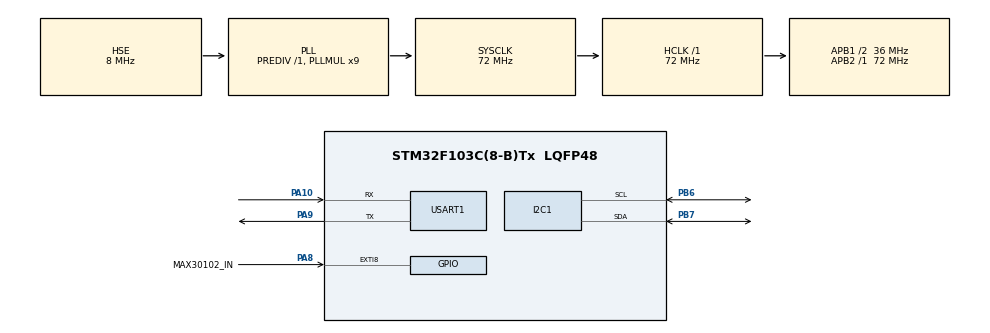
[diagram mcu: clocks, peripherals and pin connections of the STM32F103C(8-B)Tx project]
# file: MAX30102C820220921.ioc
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Mcu.Family=STM32F1
Mcu.Name=STM32F103C(8-B)Tx
Mcu.Package=LQFP48
NVIC.EXTI9_5_IRQn=true\:0\:0\:false\:false\:true\:true\:true
NVIC.PriorityGroup=NVIC_PRIORITYGROUP_4
PA10.Mode=Asynchronous
PA10.Signal=USART1_RX
PA13.Mode=Serial_Wire
PA13.Signal=SYS_JTMS-SWDIO
PA14.Mode=Serial_Wire
PA14.Signal=SYS_JTCK-SWCLK
PA8.GPIO_Label=MAX30102_IN
PA8.GPIO_ModeDefaultEXTI=GPIO_MODE_IT_FALLING
PA8.GPIO_PuPd=GPIO_PULLUP
PA8.Signal=GPXTI8
PA9.Mode=Asynchronous
PA9.Signal=USART1_TX
PB6.Mode=I2C
PB6.Signal=I2C1_SCL
PB7.Mode=I2C
PB7.Signal=I2C1_SDA
PD0-OSC_IN.Mode=HSE-External-Oscillator
PD0-OSC_IN.Signal=RCC_OSC_IN
PD1-OSC_OUT.Mode=HSE-External-Oscillator
PD1-OSC_OUT.Signal=RCC_OSC_OUT
ProjectManager.HeapSize=0x200
ProjectManager.StackSize=0x400
ProjectManager.TargetToolchain=MDK-ARM V5
RCC.AHBFreq_Value=72000000
RCC.APB1CLKDivider=RCC_HCLK_DIV2
RCC.APB1Freq_Value=36000000
RCC.APB1TimFreq_Value=72000000
RCC.APB2Freq_Value=72000000
RCC.APB2TimFreq_Value=72000000
RCC.HCLKFreq_Value=72000000
RCC.PLLMUL=RCC_PLL_MUL9
RCC.PLLSourceVirtual=RCC_PLLSOURCE_HSE
RCC.SYSCLKFreq_VALUE=72000000
RCC.SYSCLKSource=RCC_SYSCLKSOURCE_PLLCLK
RCC.USBFreq_Value=72000000
USART1.VirtualMode=VM_ASYNC
board=custom

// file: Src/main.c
/* USER CODE BEGIN Header */
/**
  ******************************************************************************
  * @file           : main.c
  * @brief          : Main program body
  ******************************************************************************
  * @attention
  *
  * <h2><center>&copy; Copyright (c) 2022 STMicroelectronics.
  * All rights reserved.</center></h2>
  *
  * This software component is licensed by ST under BSD 3-Clause license,
  * the "License"; You may not use this file except in compliance with the
  * License. You may obtain a copy of the License at:
  *                        opensource.org/licenses/BSD-3-Clause
  *
  ******************************************************************************
  */
/* USER CODE END Header */

#include "main.h"
#include "i2c.h"
#include "usart.h"
#include "gpio.h"

/* USER CODE BEGIN Includes */
#include "stdio.h"
#include "max30102.h"
#include "max30102_fir.h"
/* USER CODE END Includes */

/* USER CODE BEGIN PTD */

#define CACHE_NUMS 100//缓存数
#define PPG_DATA_THRESHOLD 100000 	//检测阈值

float ppg_data_cache_RED[CACHE_NUMS]={0};  //缓存区
float ppg_data_cache_IR[CACHE_NUMS]={0};  //缓存区
/* USER CODE END PTD */

void SystemClock_Config(void);

int main(void)
{

  /* MCU Configuration--------------------------------------------------------*/

  /* Reset of all peripherals, Initializes the Flash interface and the Systick. */
  HAL_Init();

  /* Configure the system clock */
  SystemClock_Config();

  /* Initialize all configured peripherals */
  MX_GPIO_Init();
  MX_I2C1_Init();
  MX_USART1_UART_Init();
  /* USER CODE BEGIN 2 */
	HAL_Delay(500);
	max30102_init();
	printf("max30102_init\r\n");
	max30102_fir_init();
	printf("max30102_fir_init\r\n");

	uint32_t cache_counter=0;  //缓存计数器
	uint32_t i = 0;
	uint8_t max30102_flag = 0;
	float max30102_data[2],fir_output[2];
	float max30102_Spo2_data[5];
	int max30102_heart_data[5];
  /* USER CODE END 2 */

  /* Infinite loop */
  while (1)
  {

    /* USER CODE BEGIN 3 */
		if(max30102_int_flag)			//中断信号产生
			{

//				if(cache_counter % 10 == 0)
//						printf("cache_counter：%d \r\n",cache_counter);

					max30102_int_flag = 0;
					max30102_fifo_read(max30102_data);		//读取数据

					ir_max30102_fir(&max30102_data[0],&fir_output[0]);
					red_max30102_fir(&max30102_data[1],&fir_output[1]);  //滤波
					if((max30102_data[0]>PPG_DATA_THRESHOLD)&&(max30102_data[1]>PPG_DATA_THRESHOLD))  //大于阈值，说明传感器有接触
					{
							ppg_data_cache_IR[cache_counter]=fir_output[0];
							ppg_data_cache_RED[cache_counter]=fir_output[1];
							cache_counter++;
						Hand_Contact = false;
					}
					else				//小于阈值
					{
							Hand_Contact = true;
							cache_counter=0;
					}

					if(cache_counter>=CACHE_NUMS)  //收集满了数据
					{
						printf("Hand_Contact:%d\r\n",Hand_Contact);
						max30102_heart_data[max30102_flag] = max30102_getHeartRate(ppg_data_cache_IR,CACHE_NUMS);
						max30102_Spo2_data[max30102_flag] = max30102_getSpO2(ppg_data_cache_IR,ppg_data_cache_RED,CACHE_NUMS);
						max30102_flag++;
						printf("心率：%d  次/min   ",max30102_getHeartRate(ppg_data_cache_IR,CACHE_NUMS));
						printf("血氧：%.2f  %%\n",max30102_getSpO2(ppg_data_cache_IR,ppg_data_cache_RED,CACHE_NUMS));
						cache_counter=0;
						if(max30102_flag == 5){
								max30102_flag = 0;
								printf("****************\r\n");
								printf("心率：%d  次/min   ",Max30120GeiHeartData(max30102_heart_data));
								printf("血氧：%d  %%\n",Max30120GeiSpo2Data(max30102_Spo2_data));
								printf("****************\r\n");
						}
					}
			}
  }
  /* USER CODE END 3 */
}

void SystemClock_Config(void)
{
  RCC_OscInitTypeDef RCC_OscInitStruct = {0};
  RCC_ClkInitTypeDef RCC_ClkInitStruct = {0};

  /** Initializes the CPU, AHB and APB busses clocks
  */
  RCC_OscInitStruct.OscillatorType = RCC_OSCILLATORTYPE_HSE;
  RCC_OscInitStruct.HSEState = RCC_HSE_ON;
  RCC_OscInitStruct.HSEPredivValue = RCC_HSE_PREDIV_DIV1;
  RCC_OscInitStruct.HSIState = RCC_HSI_ON;
  RCC_OscInitStruct.PLL.PLLState = RCC_PLL_ON;
  RCC_OscInitStruct.PLL.PLLSource = RCC_PLLSOURCE_HSE;
  RCC_OscInitStruct.PLL.PLLMUL = RCC_PLL_MUL9;
  if (HAL_RCC_OscConfig(&RCC_OscInitStruct) != HAL_OK)
  {
    Error_Handler();
  }
  /** Initializes the CPU, AHB and APB busses clocks
  */
  RCC_ClkInitStruct.ClockType = RCC_CLOCKTYPE_HCLK|RCC_CLOCKTYPE_SYSCLK
                              |RCC_CLOCKTYPE_PCLK1|RCC_CLOCKTYPE_PCLK2;
  RCC_ClkInitStruct.SYSCLKSource = RCC_SYSCLKSOURCE_PLLCLK;
  RCC_ClkInitStruct.AHBCLKDivider = RCC_SYSCLK_DIV1;
  RCC_ClkInitStruct.APB1CLKDivider = RCC_HCLK_DIV2;
  RCC_ClkInitStruct.APB2CLKDivider = RCC_HCLK_DIV1;

  if (HAL_RCC_ClockConfig(&RCC_ClkInitStruct, FLASH_LATENCY_2) != HAL_OK)
  {
    Error_Handler();
  }
}

void Error_Handler(void)
{
}

/************************ (C) COPYRIGHT STMicroelectronics *****END OF FILE****/
